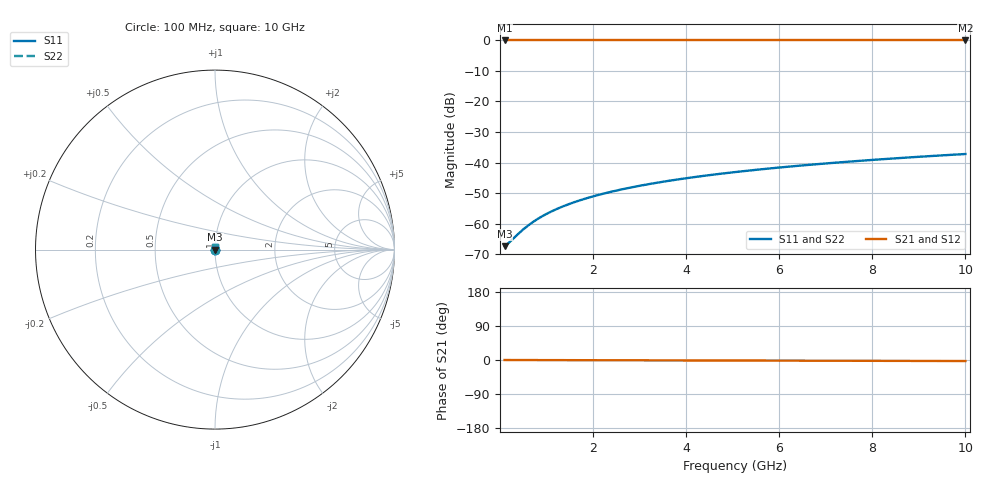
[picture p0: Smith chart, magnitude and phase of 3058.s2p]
# Hz S RI R 50.00
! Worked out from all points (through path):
!   100 points, 100 MHz to 10 GHz, reference 50 ohm
!   highest |S21| = 0.00 dB at 100 MHz (marker M1); lowest = 0.0 dB at 10 GHz (marker M2)
!   lowest |S11| = -67.4 dB at 100 MHz (marker M3), VSWR 1.00, Z = 50 + j0.0138 ohm
!   |S11| at or under -10 dB: start of sweep to end of sweep
!   |S22| runs from -67.4 to -37.2 dB; largest |S21 - S12| = 0
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1e8  0.000404 0.000138  0.9996 -0.00048  0.9996 -0.00048  0.000404 0.000138
2e8  0.000406 0.000275  0.9996 -0.000959  0.9996 -0.000959  0.000406 0.000275
4e8  0.00041 0.00055  0.9996 -0.00192  0.9996 -0.00192  0.00041 0.00055
5e8  0.000412 0.000688  0.9996 -0.0024  0.9996 -0.0024  0.000412 0.000688
6e8  0.000414 0.000825  0.9996 -0.00288  0.9996 -0.00288  0.000414 0.000825
7e8  0.000416 0.000963  0.9996 -0.00336  0.9996 -0.00336  0.000416 0.000963
9e8  0.00042 0.00124  0.9996 -0.00432  0.9996 -0.00432  0.00042 0.00124
1.1e9  0.000424 0.00151  0.9996 -0.00527  0.9996 -0.00527  0.000424 0.00151
1.3e9  0.000428 0.00179  0.9996 -0.00623  0.9996 -0.00623  0.000428 0.00179
1.5e9  0.000433 0.00206  0.9995 -0.00719  0.9995 -0.00719  0.000433 0.00206
1.8e9  0.000441 0.00248  0.9995 -0.00863  0.9995 -0.00863  0.000441 0.00248
2.1e9  0.00045 0.00289  0.9995 -0.0101  0.9995 -0.0101  0.00045 0.00289
2.5e9  0.000464 0.00344  0.9995 -0.012  0.9995 -0.012  0.000464 0.00344
2.9e9  0.00048 0.00399  0.9995 -0.0139  0.9995 -0.0139  0.00048 0.00399
3.4e9  0.000502 0.00468  0.9994 -0.0163  0.9994 -0.0163  0.000502 0.00468
4.2e9  0.000545 0.00578  0.9993 -0.0201  0.9993 -0.0201  0.000545 0.00578
5.1e9  0.000603 0.00701  0.9992 -0.0245  0.9992 -0.0245  0.000603 0.00701
5.9e9  0.000663 0.00811  0.9991 -0.0283  0.9991 -0.0283  0.000663 0.00811
6.7e9  0.000732 0.00921  0.999 -0.0322  0.999 -0.0322  0.000732 0.00921
7.5e9  0.00081 0.0103  0.9988 -0.036  0.9988 -0.036  0.00081 0.0103
8.4e9  0.000907 0.0115  0.9987 -0.0403  0.9987 -0.0403  0.000907 0.0115
1e10  0.00111 0.0137  0.9983 -0.048  0.9983 -0.048  0.00111 0.0137
